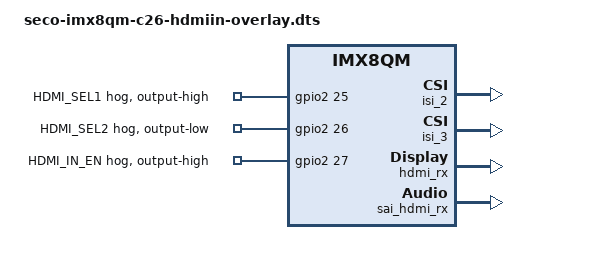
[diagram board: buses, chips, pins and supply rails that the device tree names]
/*
 * Copyright 2017-2018 NXP
 *
 * This program is free software; you can redistribute it and/or
 * modify it under the terms of the GNU General Public License
 * as published by the Free Software Foundation; either version 2
 * of the License, or (at your option) any later version.
 *
 * This program is distributed in the hope that it will be useful,
 * but WITHOUT ANY WARRANTY; without even the implied warranty of
 * MERCHANTABILITY or FITNESS FOR A PARTICULAR PURPOSE.  See the
 * GNU General Public License for more details.
 */
/*
 * HDMI_IN  - HDMI INPUT.
 */

/dts-v1/;
/plugin/;

#include <dt-bindings/clock/imx8qm-clock.h>

/ {
        compatible = "fsl,imx8qm-mek","fsl,seco-imx8qm-c26", "fsl,imx8qm";

/*  __________________________________________________________________________
 * |                                                                          |
 * |                               HDMI IN	                              |
 * |__________________________________________________________________________|
 */


	fragment@1 {
		 target = <&sound_hdmirx>;
		 __overlay__ {
			compatible = "fsl,imx-audio-cdnhdmi";
			model = "imx-audio-hdmi-rx";
			audio-cpu = <&sai_hdmi_rx>;
			protocol = <1>;
			hdmi-in;
		 };
	 };

	fragment@2 {
		 target = <&isi_2>;
		 __overlay__ {
			interface = <4 0 2>;  /* <Input MIPI_VCx Output>
								Input:  0-DC0, 1-DC1, 2-MIPI CSI0, 3-MIPI CSI1, 4-HDMI, 5-MEM
								VCx:    0-VC0, 1-VC1, 2-VC2, 3-VC3, MIPI CSI only
								Output: 0-DC0, 1-DC1, 2-MEM */
			status = "okay";
		 };
	 };

	fragment@3 {
		 target = <&isi_3>;
		 __overlay__ {
			/* For HDMI RX 4K chain buf */
			interface = <4 0 2>;  
			status = "okay";
		 };
	 };

	fragment@4 {
		 target = <&mipi_csi_0>;
		 __overlay__ {
			status = "disabled";
		 };
	 };


	fragment@5 {
		 target = <&i2c0_mipi_csi0>;
		 __overlay__ {
			status = "disabled";
		 };
	 };

	fragment@6 {
		 target = <&hdmi_rx>;
		 __overlay__ {
			fsl,cec;
			assigned-clocks = <&clk IMX8QM_HDMI_RX_HD_REF_SEL>,
								<&clk IMX8QM_HDMI_RX_PXL_SEL>,
								<&clk IMX8QM_HDMI_RX_HD_REF_DIV>;
			assigned-clock-parents = <&clk IMX8QM_HDMI_RX_DIG_PLL_CLK>,
									<&clk IMX8QM_HDMI_RX_BYPASS_CLK>;
			assigned-clock-rates = <0>, <0>, <400000000>;
			status = "okay";
		 };
	 };

	fragment@7 {
		 target = <&sai_hdmi_rx>;
		 __overlay__ {
			fsl,sai-asynchronous;
			status = "okay";
		 };
	};

	fragment@8 {
		target = <&gpio2>;
		__overlay__ {
			status = "okay";
		    line_b@0 {
			gpio-hog;
			gpios = <25 0>;
			output-high;
			line-name = "HDMI_SEL1";
			};

		    line_b@1 {
			gpio-hog;
			gpios = <26 0>;
			output-low;
			line-name = "HDMI_SEL2";
			};

		    line_b@2 {
			gpio-hog;
			gpios = <27 0>;
			output-high;
			line-name = "HDMI_IN_EN";
			};

		};
	};
};
